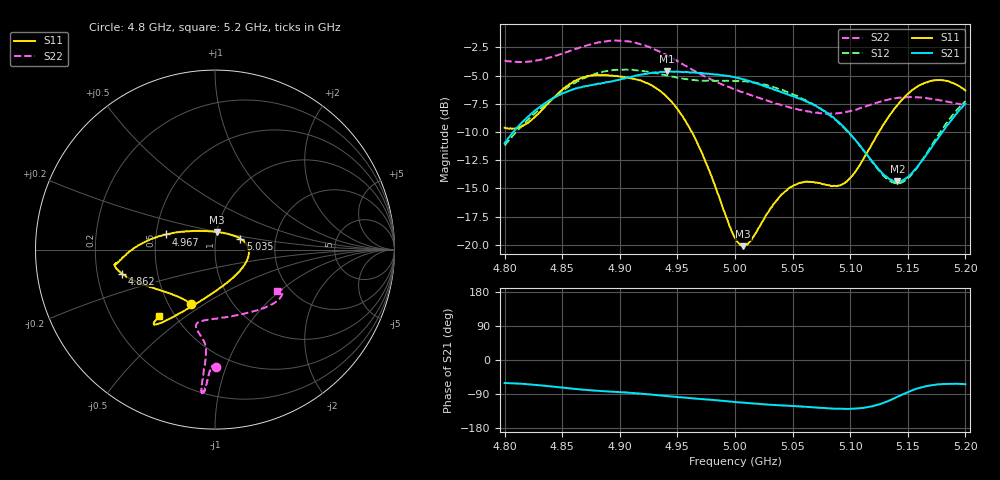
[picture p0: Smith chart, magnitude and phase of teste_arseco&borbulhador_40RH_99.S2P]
! Network Analyzer HP8722D
! Hewlett-Packard
! Data name: Linha & Wilkinson
! Saver's name: Rodrigo Anjos
! Comments: Teste da utilização de aquisição
! continua pelo VNA HP8722D
! Time and date: 15/4/2025 17:10
!  Frequency  S11  S21  S12  S22
# HZ  S  MA R 50
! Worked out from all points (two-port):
!   401 points, 4.8 GHz to 5.2 GHz, reference 50 ohm
!   highest |S21| = -4.63 dB at 4.941 GHz (marker M1); lowest = -14.4 dB at 5.141 GHz (marker M2)
!   |S21| within 3 dB of the highest: 4.832 GHz to 5.069 GHz (236.5 MHz wide, 4.78 % of centre); 5.198573 GHz to end of sweep
!   lowest |S11| = -20.1 dB at 5.007 GHz (marker M3), VSWR 1.22, Z = 50.1 + j9.91 ohm
!   |S11| at or under -10 dB: 4.962 GHz to 5.125 GHz (162.5 MHz wide, 3.22 % of centre)
!   |S22| runs from -8.4 to -1.9 dB; largest |S21 - S12| = 0.88
!   S11 on the Smith chart (normalised r, x): 4.8 GHz: 0.65, -0.44; 4.862 GHz: 0.31, -0.12; 4.967 GHz: 0.57, +0.10; 5.035 GHz: 1.32, +0.16; 5.2 GHz: 0.41, -0.40
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4.8e9  0.3307 -113.6  0.282 -60.7  0.2751 -175.0  0.6539 -89.5
4.819e9  0.3447 -133.4  0.3646 -63.7  0.3526 -173.2  0.649 -91.1
4.862e9  0.5355 -165.5  0.4938 -76.5  0.5257 -176.3  0.7399 -93.5
4.867e9  0.5495 -167.5  0.5003 -78.1  0.5422 -177.2  0.7543 -93.7
4.902e9  0.556 -172.1  0.5434 -85.2  0.5973 175.4  0.8024 -95.2
4.934e9  0.4852 -177.8  0.5816 -93.2  0.5747 172.2  0.7203 -95.6
4.941e9  0.4515 178.9  0.5868 -95.1  0.5627 172.0  0.6921 -95.4
4.954e9  0.3735 171.9  0.5833 -98.7  0.546 172.8  0.6344 -95.1
4.967e9  0.2848 162.7  0.5791 -102.0  0.535 174.2  0.5822 -94.9
5e9  0.1073 107.3  0.5536 -110.8  0.5337 176.5  0.4879 -99.2
5.007e9  0.09851 83.8  0.5413 -112.5  0.5295 176.5  0.4742 -100.9
5.014e9  0.1045 61.9  0.5287 -114.5  0.5264 176.2  0.4611 -102.5
5.035e9  0.1545 23.3  0.4854 -118.9  0.4976 175.2  0.4245 -103.8
5.05e9  0.1819 7.3  0.4569 -121.6  0.4641 174.5  0.4039 -100.3
5.067e9  0.1897 -11.1  0.4221 -124.6  0.4228 174.1  0.386 -91.9
5.086e9  0.1825 -41.6  0.3648 -128.4  0.3616 173.8  0.3823 -77.7
5.097e9  0.1907 -64.7  0.3217 -129.2  0.3208 174.4  0.3889 -68.6
5.134e9  0.3729 -115.8  0.1954 -107.0  0.1921 -159.7  0.4415 -43.4
5.141e9  0.416 -119.8  0.1909 -97.1  0.1869 -148.8  0.4474 -40.3
5.154e9  0.486 -125.0  0.2089 -79.9  0.2069 -128.7  0.4515 -35.6
5.171e9  0.5338 -128.6  0.2725 -66.4  0.277 -112.2  0.4431 -31.8
5.2e9  0.4829 -130.2  0.4225 -64.0  0.4338 -106.0  0.4154 -33.3
